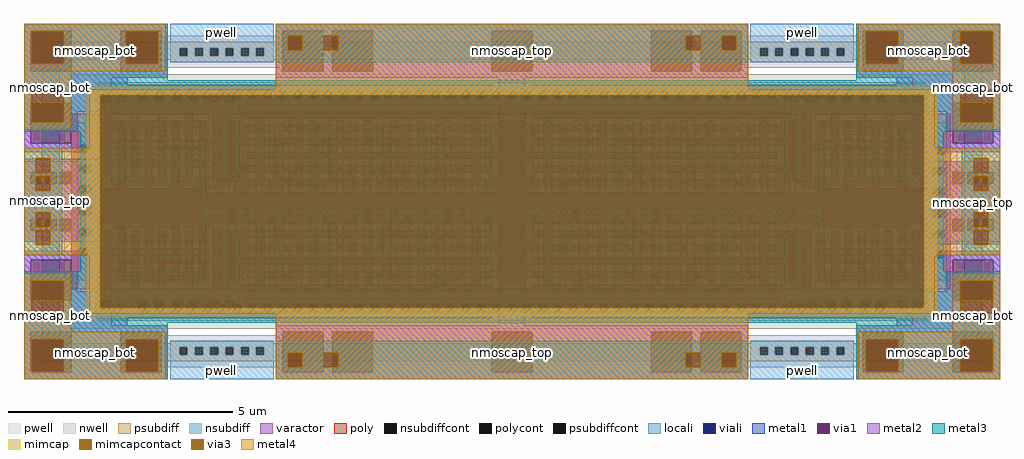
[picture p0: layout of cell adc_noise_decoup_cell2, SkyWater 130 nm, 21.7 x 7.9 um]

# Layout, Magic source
magic
tech sky130A
magscale 1 2
<< nwell >>
rect 200 1210 4128 1356
rect 180 370 4150 1210
rect 200 224 4128 370
<< pwell >>
rect 624 1384 1136 1526
rect 3204 1384 3716 1526
rect 624 54 1136 196
rect 3204 54 3716 196
<< varactor >>
rect 330 400 4010 1180
<< psubdiff >>
rect 650 1472 1110 1500
rect 650 1438 693 1472
rect 727 1438 761 1472
rect 795 1438 829 1472
rect 863 1438 897 1472
rect 931 1438 965 1472
rect 999 1438 1033 1472
rect 1067 1438 1110 1472
rect 650 1410 1110 1438
rect 3230 1472 3690 1500
rect 3230 1438 3273 1472
rect 3307 1438 3341 1472
rect 3375 1438 3409 1472
rect 3443 1438 3477 1472
rect 3511 1438 3545 1472
rect 3579 1438 3613 1472
rect 3647 1438 3690 1472
rect 3230 1410 3690 1438
rect 650 142 1110 170
rect 650 108 693 142
rect 727 108 761 142
rect 795 108 829 142
rect 863 108 897 142
rect 931 108 965 142
rect 999 108 1033 142
rect 1067 108 1110 142
rect 650 80 1110 108
rect 3230 142 3690 170
rect 3230 108 3273 142
rect 3307 108 3341 142
rect 3375 108 3409 142
rect 3443 108 3477 142
rect 3511 108 3545 142
rect 3579 108 3613 142
rect 3647 108 3690 142
rect 3230 80 3690 108
<< nsubdiff >>
rect 330 1282 4010 1320
rect 330 1248 521 1282
rect 555 1248 589 1282
rect 623 1248 657 1282
rect 691 1248 725 1282
rect 759 1248 793 1282
rect 827 1248 861 1282
rect 895 1248 929 1282
rect 963 1248 997 1282
rect 1031 1248 1065 1282
rect 1099 1248 1133 1282
rect 1167 1248 1201 1282
rect 1235 1248 1269 1282
rect 1303 1248 1337 1282
rect 1371 1248 1405 1282
rect 1439 1248 1473 1282
rect 1507 1248 1541 1282
rect 1575 1248 1609 1282
rect 1643 1248 1677 1282
rect 1711 1248 1745 1282
rect 1779 1248 1813 1282
rect 1847 1248 1881 1282
rect 1915 1248 1949 1282
rect 1983 1248 2017 1282
rect 2051 1248 2085 1282
rect 2119 1248 2153 1282
rect 2187 1248 2221 1282
rect 2255 1248 2289 1282
rect 2323 1248 2357 1282
rect 2391 1248 2425 1282
rect 2459 1248 2493 1282
rect 2527 1248 2561 1282
rect 2595 1248 2629 1282
rect 2663 1248 2697 1282
rect 2731 1248 2765 1282
rect 2799 1248 2833 1282
rect 2867 1248 2901 1282
rect 2935 1248 2969 1282
rect 3003 1248 3037 1282
rect 3071 1248 3105 1282
rect 3139 1248 3173 1282
rect 3207 1248 3241 1282
rect 3275 1248 3309 1282
rect 3343 1248 3377 1282
rect 3411 1248 3445 1282
rect 3479 1248 3513 1282
rect 3547 1248 3581 1282
rect 3615 1248 3649 1282
rect 3683 1248 3717 1282
rect 3751 1248 3785 1282
rect 3819 1248 4010 1282
rect 330 1180 4010 1248
rect 330 332 4010 400
rect 330 298 521 332
rect 555 298 589 332
rect 623 298 657 332
rect 691 298 725 332
rect 759 298 793 332
rect 827 298 861 332
rect 895 298 929 332
rect 963 298 997 332
rect 1031 298 1065 332
rect 1099 298 1133 332
rect 1167 298 1201 332
rect 1235 298 1269 332
rect 1303 298 1337 332
rect 1371 298 1405 332
rect 1439 298 1473 332
rect 1507 298 1541 332
rect 1575 298 1609 332
rect 1643 298 1677 332
rect 1711 298 1745 332
rect 1779 298 1813 332
rect 1847 298 1881 332
rect 1915 298 1949 332
rect 1983 298 2017 332
rect 2051 298 2085 332
rect 2119 298 2153 332
rect 2187 298 2221 332
rect 2255 298 2289 332
rect 2323 298 2357 332
rect 2391 298 2425 332
rect 2459 298 2493 332
rect 2527 298 2561 332
rect 2595 298 2629 332
rect 2663 298 2697 332
rect 2731 298 2765 332
rect 2799 298 2833 332
rect 2867 298 2901 332
rect 2935 298 2969 332
rect 3003 298 3037 332
rect 3071 298 3105 332
rect 3139 298 3173 332
rect 3207 298 3241 332
rect 3275 298 3309 332
rect 3343 298 3377 332
rect 3411 298 3445 332
rect 3479 298 3513 332
rect 3547 298 3581 332
rect 3615 298 3649 332
rect 3683 298 3717 332
rect 3751 298 3785 332
rect 3819 298 4010 332
rect 330 260 4010 298
<< psubdiffcont >>
rect 693 1438 727 1472
rect 761 1438 795 1472
rect 829 1438 863 1472
rect 897 1438 931 1472
rect 965 1438 999 1472
rect 1033 1438 1067 1472
rect 3273 1438 3307 1472
rect 3341 1438 3375 1472
rect 3409 1438 3443 1472
rect 3477 1438 3511 1472
rect 3545 1438 3579 1472
rect 3613 1438 3647 1472
rect 693 108 727 142
rect 761 108 795 142
rect 829 108 863 142
rect 897 108 931 142
rect 965 108 999 142
rect 1033 108 1067 142
rect 3273 108 3307 142
rect 3341 108 3375 142
rect 3409 108 3443 142
rect 3477 108 3511 142
rect 3545 108 3579 142
rect 3613 108 3647 142
<< nsubdiffcont >>
rect 521 1248 555 1282
rect 589 1248 623 1282
rect 657 1248 691 1282
rect 725 1248 759 1282
rect 793 1248 827 1282
rect 861 1248 895 1282
rect 929 1248 963 1282
rect 997 1248 1031 1282
rect 1065 1248 1099 1282
rect 1133 1248 1167 1282
rect 1201 1248 1235 1282
rect 1269 1248 1303 1282
rect 1337 1248 1371 1282
rect 1405 1248 1439 1282
rect 1473 1248 1507 1282
rect 1541 1248 1575 1282
rect 1609 1248 1643 1282
rect 1677 1248 1711 1282
rect 1745 1248 1779 1282
rect 1813 1248 1847 1282
rect 1881 1248 1915 1282
rect 1949 1248 1983 1282
rect 2017 1248 2051 1282
rect 2085 1248 2119 1282
rect 2153 1248 2187 1282
rect 2221 1248 2255 1282
rect 2289 1248 2323 1282
rect 2357 1248 2391 1282
rect 2425 1248 2459 1282
rect 2493 1248 2527 1282
rect 2561 1248 2595 1282
rect 2629 1248 2663 1282
rect 2697 1248 2731 1282
rect 2765 1248 2799 1282
rect 2833 1248 2867 1282
rect 2901 1248 2935 1282
rect 2969 1248 3003 1282
rect 3037 1248 3071 1282
rect 3105 1248 3139 1282
rect 3173 1248 3207 1282
rect 3241 1248 3275 1282
rect 3309 1248 3343 1282
rect 3377 1248 3411 1282
rect 3445 1248 3479 1282
rect 3513 1248 3547 1282
rect 3581 1248 3615 1282
rect 3649 1248 3683 1282
rect 3717 1248 3751 1282
rect 3785 1248 3819 1282
rect 521 298 555 332
rect 589 298 623 332
rect 657 298 691 332
rect 725 298 759 332
rect 793 298 827 332
rect 861 298 895 332
rect 929 298 963 332
rect 997 298 1031 332
rect 1065 298 1099 332
rect 1133 298 1167 332
rect 1201 298 1235 332
rect 1269 298 1303 332
rect 1337 298 1371 332
rect 1405 298 1439 332
rect 1473 298 1507 332
rect 1541 298 1575 332
rect 1609 298 1643 332
rect 1677 298 1711 332
rect 1745 298 1779 332
rect 1813 298 1847 332
rect 1881 298 1915 332
rect 1949 298 1983 332
rect 2017 298 2051 332
rect 2085 298 2119 332
rect 2153 298 2187 332
rect 2221 298 2255 332
rect 2289 298 2323 332
rect 2357 298 2391 332
rect 2425 298 2459 332
rect 2493 298 2527 332
rect 2561 298 2595 332
rect 2629 298 2663 332
rect 2697 298 2731 332
rect 2765 298 2799 332
rect 2833 298 2867 332
rect 2901 298 2935 332
rect 2969 298 3003 332
rect 3037 298 3071 332
rect 3105 298 3139 332
rect 3173 298 3207 332
rect 3241 298 3275 332
rect 3309 298 3343 332
rect 3377 298 3411 332
rect 3445 298 3479 332
rect 3513 298 3547 332
rect 3581 298 3615 332
rect 3649 298 3683 332
rect 3717 298 3751 332
rect 3785 298 3819 332
<< poly >>
rect 210 1042 330 1180
rect 210 1008 248 1042
rect 282 1008 330 1042
rect 210 952 330 1008
rect 210 918 248 952
rect 282 918 330 952
rect 210 862 330 918
rect 210 828 248 862
rect 282 828 330 862
rect 210 762 330 828
rect 210 728 248 762
rect 282 728 330 762
rect 210 672 330 728
rect 210 638 248 672
rect 282 638 330 672
rect 210 582 330 638
rect 210 548 248 582
rect 282 548 330 582
rect 210 400 330 548
rect 4010 1032 4120 1180
rect 4010 998 4058 1032
rect 4092 998 4120 1032
rect 4010 942 4120 998
rect 4010 908 4058 942
rect 4092 908 4120 942
rect 4010 852 4120 908
rect 4010 818 4058 852
rect 4092 818 4120 852
rect 4010 752 4120 818
rect 4010 718 4058 752
rect 4092 718 4120 752
rect 4010 662 4120 718
rect 4010 628 4058 662
rect 4092 628 4120 662
rect 4010 572 4120 628
rect 4010 538 4058 572
rect 4092 538 4120 572
rect 4010 400 4120 538
<< polycont >>
rect 248 1008 282 1042
rect 248 918 282 952
rect 248 828 282 862
rect 248 728 282 762
rect 248 638 282 672
rect 248 548 282 582
rect 4058 998 4092 1032
rect 4058 908 4092 942
rect 4058 818 4092 852
rect 4058 718 4092 752
rect 4058 628 4092 662
rect 4058 538 4092 572
<< locali >>
rect 650 1500 1110 1580
rect 3230 1500 3690 1580
rect 80 1472 4260 1500
rect 80 1438 693 1472
rect 727 1438 761 1472
rect 795 1438 829 1472
rect 863 1438 897 1472
rect 931 1438 965 1472
rect 999 1438 1033 1472
rect 1067 1438 3273 1472
rect 3307 1438 3341 1472
rect 3375 1438 3409 1472
rect 3443 1438 3477 1472
rect 3511 1438 3545 1472
rect 3579 1438 3613 1472
rect 3647 1438 4260 1472
rect 80 1420 4260 1438
rect 80 160 160 1420
rect 650 1410 1110 1420
rect 3230 1410 3690 1420
rect 320 1282 4020 1300
rect 320 1267 521 1282
rect 555 1267 589 1282
rect 320 1233 347 1267
rect 381 1233 419 1267
rect 453 1233 507 1267
rect 555 1248 579 1267
rect 623 1248 657 1282
rect 691 1267 725 1282
rect 759 1267 793 1282
rect 701 1248 725 1267
rect 773 1248 793 1267
rect 827 1267 861 1282
rect 541 1233 579 1248
rect 613 1233 667 1248
rect 701 1233 739 1248
rect 773 1233 827 1248
rect 895 1267 929 1282
rect 895 1248 899 1267
rect 963 1248 997 1282
rect 1031 1248 1065 1282
rect 1099 1248 1133 1282
rect 1167 1248 1201 1282
rect 1235 1248 1269 1282
rect 1303 1248 1337 1282
rect 1371 1248 1405 1282
rect 1439 1248 1473 1282
rect 1507 1248 1541 1282
rect 1575 1248 1609 1282
rect 1643 1248 1677 1282
rect 1711 1248 1745 1282
rect 1779 1248 1813 1282
rect 1847 1248 1881 1282
rect 1915 1248 1949 1282
rect 1983 1248 2017 1282
rect 2051 1248 2085 1282
rect 2119 1248 2153 1282
rect 2187 1248 2221 1282
rect 2255 1248 2289 1282
rect 2323 1248 2357 1282
rect 2391 1248 2425 1282
rect 2459 1248 2493 1282
rect 2527 1248 2561 1282
rect 2595 1248 2629 1282
rect 2663 1248 2697 1282
rect 2731 1248 2765 1282
rect 2799 1248 2833 1282
rect 2867 1248 2901 1282
rect 2935 1248 2969 1282
rect 3003 1248 3037 1282
rect 3071 1248 3105 1282
rect 3139 1248 3173 1282
rect 3207 1248 3241 1282
rect 3275 1248 3309 1282
rect 3343 1248 3377 1282
rect 3411 1267 3445 1282
rect 3441 1248 3445 1267
rect 3479 1267 3513 1282
rect 861 1233 899 1248
rect 933 1233 3407 1248
rect 3441 1233 3479 1248
rect 3547 1267 3581 1282
rect 3615 1267 3649 1282
rect 3547 1248 3567 1267
rect 3615 1248 3639 1267
rect 3683 1248 3717 1282
rect 3751 1267 3785 1282
rect 3819 1267 4020 1282
rect 3761 1248 3785 1267
rect 3513 1233 3567 1248
rect 3601 1233 3639 1248
rect 3673 1233 3727 1248
rect 3761 1233 3799 1248
rect 3833 1233 3887 1267
rect 3921 1233 3959 1267
rect 3993 1233 4020 1267
rect 320 1180 4020 1233
rect 240 1100 800 1140
rect 240 1042 350 1100
rect 840 1060 910 1180
rect 240 1008 248 1042
rect 282 1008 350 1042
rect 390 1020 910 1060
rect 240 980 350 1008
rect 240 952 800 980
rect 240 918 248 952
rect 302 940 800 952
rect 302 918 350 940
rect 240 862 350 918
rect 840 900 910 1020
rect 240 828 248 862
rect 302 828 350 862
rect 390 860 910 900
rect 240 820 350 828
rect 950 830 990 1140
rect 1030 880 1070 1180
rect 1110 830 1150 1140
rect 1190 880 1230 1180
rect 1270 830 1310 1140
rect 1350 880 1390 1180
rect 1430 830 1470 1140
rect 1510 880 1550 1180
rect 1590 830 1630 1140
rect 1670 880 1710 1180
rect 1750 830 1790 1140
rect 1830 880 1870 1180
rect 1910 830 1950 1140
rect 1990 880 2030 1180
rect 2070 830 2110 1140
rect 2150 880 2190 1180
rect 2230 830 2270 1140
rect 2310 880 2350 1180
rect 2390 830 2430 1140
rect 2470 880 2510 1180
rect 2550 830 2590 1140
rect 2630 880 2670 1180
rect 2710 830 2750 1140
rect 2790 880 2830 1180
rect 2870 830 2910 1140
rect 2950 880 2990 1180
rect 3030 830 3070 1140
rect 3110 880 3150 1180
rect 3190 830 3230 1140
rect 3270 880 3310 1180
rect 3350 830 3390 1140
rect 3430 1060 3500 1180
rect 3540 1100 4100 1140
rect 3430 1020 3950 1060
rect 3990 1032 4100 1100
rect 3430 900 3500 1020
rect 3990 998 4058 1032
rect 4092 998 4100 1032
rect 3990 980 4100 998
rect 3540 942 4100 980
rect 3540 940 4038 942
rect 3990 908 4038 940
rect 4092 908 4100 942
rect 3430 860 3940 900
rect 950 820 3390 830
rect 3990 852 4100 908
rect 3990 820 4038 852
rect 240 818 4038 820
rect 4092 818 4100 852
rect 240 762 4100 818
rect 240 728 248 762
rect 302 760 4100 762
rect 302 728 350 760
rect 240 672 350 728
rect 950 750 3390 760
rect 390 680 910 720
rect 240 638 248 672
rect 302 640 350 672
rect 302 638 800 640
rect 240 600 800 638
rect 240 582 350 600
rect 240 548 248 582
rect 282 548 350 582
rect 840 560 910 680
rect 240 480 350 548
rect 390 520 910 560
rect 240 440 800 480
rect 840 400 910 520
rect 950 440 990 750
rect 1030 400 1070 700
rect 1110 440 1150 750
rect 1190 400 1230 700
rect 1270 440 1310 750
rect 1350 400 1390 700
rect 1430 440 1470 750
rect 1510 400 1550 700
rect 1590 440 1630 750
rect 1670 400 1710 700
rect 1750 440 1790 750
rect 1830 400 1870 700
rect 1910 440 1950 750
rect 1990 400 2030 700
rect 2070 450 2110 750
rect 2150 400 2190 700
rect 2230 450 2270 750
rect 2310 400 2350 700
rect 2390 440 2430 750
rect 2470 400 2510 700
rect 2550 440 2590 750
rect 2630 400 2670 700
rect 2710 440 2750 750
rect 2790 400 2830 700
rect 2870 440 2910 750
rect 2950 400 2990 700
rect 3030 440 3070 750
rect 3110 400 3150 700
rect 3190 440 3230 750
rect 3270 400 3310 700
rect 3350 440 3390 750
rect 3990 752 4100 760
rect 3430 680 3940 720
rect 3990 718 4038 752
rect 4092 718 4100 752
rect 3430 560 3500 680
rect 3990 662 4100 718
rect 3990 640 4038 662
rect 3540 628 4038 640
rect 4092 628 4100 662
rect 3540 600 4100 628
rect 3990 572 4100 600
rect 3430 520 3950 560
rect 3990 538 4058 572
rect 4092 538 4100 572
rect 3430 400 3500 520
rect 3990 480 4100 538
rect 3540 440 4100 480
rect 320 347 4020 400
rect 320 313 347 347
rect 381 313 419 347
rect 453 313 507 347
rect 541 332 579 347
rect 613 332 667 347
rect 701 332 739 347
rect 773 332 827 347
rect 555 313 579 332
rect 320 298 521 313
rect 555 298 589 313
rect 623 298 657 332
rect 701 313 725 332
rect 773 313 793 332
rect 691 298 725 313
rect 759 298 793 313
rect 861 332 899 347
rect 933 332 3407 347
rect 3441 332 3479 347
rect 827 298 861 313
rect 895 313 899 332
rect 895 298 929 313
rect 963 298 997 332
rect 1031 298 1065 332
rect 1099 298 1133 332
rect 1167 298 1201 332
rect 1235 298 1269 332
rect 1303 298 1337 332
rect 1371 298 1405 332
rect 1439 298 1473 332
rect 1507 298 1541 332
rect 1575 298 1609 332
rect 1643 298 1677 332
rect 1711 298 1745 332
rect 1779 298 1813 332
rect 1847 298 1881 332
rect 1915 298 1949 332
rect 1983 298 2017 332
rect 2051 298 2085 332
rect 2119 298 2153 332
rect 2187 298 2221 332
rect 2255 298 2289 332
rect 2323 298 2357 332
rect 2391 298 2425 332
rect 2459 298 2493 332
rect 2527 298 2561 332
rect 2595 298 2629 332
rect 2663 298 2697 332
rect 2731 298 2765 332
rect 2799 298 2833 332
rect 2867 298 2901 332
rect 2935 298 2969 332
rect 3003 298 3037 332
rect 3071 298 3105 332
rect 3139 298 3173 332
rect 3207 298 3241 332
rect 3275 298 3309 332
rect 3343 298 3377 332
rect 3441 313 3445 332
rect 3411 298 3445 313
rect 3513 332 3567 347
rect 3601 332 3639 347
rect 3673 332 3727 347
rect 3761 332 3799 347
rect 3479 298 3513 313
rect 3547 313 3567 332
rect 3615 313 3639 332
rect 3547 298 3581 313
rect 3615 298 3649 313
rect 3683 298 3717 332
rect 3761 313 3785 332
rect 3833 313 3887 347
rect 3921 313 3959 347
rect 3993 313 4020 347
rect 3751 298 3785 313
rect 3819 298 4020 313
rect 320 280 4020 298
rect 650 160 1110 170
rect 3230 160 3690 170
rect 4180 160 4260 1420
rect 80 142 4260 160
rect 80 108 693 142
rect 727 108 761 142
rect 795 108 829 142
rect 863 108 897 142
rect 931 108 965 142
rect 999 108 1033 142
rect 1067 108 3273 142
rect 3307 108 3341 142
rect 3375 108 3409 142
rect 3443 108 3477 142
rect 3511 108 3545 142
rect 3579 108 3613 142
rect 3647 108 4260 142
rect 80 80 4260 108
rect 650 0 1110 80
rect 3230 0 3690 80
<< viali >>
rect 347 1233 381 1267
rect 419 1233 453 1267
rect 507 1248 521 1267
rect 521 1248 541 1267
rect 579 1248 589 1267
rect 589 1248 613 1267
rect 667 1248 691 1267
rect 691 1248 701 1267
rect 739 1248 759 1267
rect 759 1248 773 1267
rect 507 1233 541 1248
rect 579 1233 613 1248
rect 667 1233 701 1248
rect 739 1233 773 1248
rect 827 1233 861 1267
rect 899 1248 929 1267
rect 929 1248 933 1267
rect 3407 1248 3411 1267
rect 3411 1248 3441 1267
rect 899 1233 933 1248
rect 3407 1233 3441 1248
rect 3479 1233 3513 1267
rect 3567 1248 3581 1267
rect 3581 1248 3601 1267
rect 3639 1248 3649 1267
rect 3649 1248 3673 1267
rect 3727 1248 3751 1267
rect 3751 1248 3761 1267
rect 3799 1248 3819 1267
rect 3819 1248 3833 1267
rect 3567 1233 3601 1248
rect 3639 1233 3673 1248
rect 3727 1233 3761 1248
rect 3799 1233 3833 1248
rect 3887 1233 3921 1267
rect 3959 1233 3993 1267
rect 268 918 282 952
rect 282 918 302 952
rect 268 828 282 862
rect 282 828 302 862
rect 4038 908 4058 942
rect 4058 908 4072 942
rect 4038 818 4058 852
rect 4058 818 4072 852
rect 268 728 282 762
rect 282 728 302 762
rect 268 638 282 672
rect 282 638 302 672
rect 4038 718 4058 752
rect 4058 718 4072 752
rect 4038 628 4058 662
rect 4058 628 4072 662
rect 347 313 381 347
rect 419 313 453 347
rect 507 332 541 347
rect 579 332 613 347
rect 667 332 701 347
rect 739 332 773 347
rect 507 313 521 332
rect 521 313 541 332
rect 579 313 589 332
rect 589 313 613 332
rect 667 313 691 332
rect 691 313 701 332
rect 739 313 759 332
rect 759 313 773 332
rect 827 313 861 347
rect 899 332 933 347
rect 3407 332 3441 347
rect 899 313 929 332
rect 929 313 933 332
rect 3407 313 3411 332
rect 3411 313 3441 332
rect 3479 313 3513 347
rect 3567 332 3601 347
rect 3639 332 3673 347
rect 3727 332 3761 347
rect 3799 332 3833 347
rect 3567 313 3581 332
rect 3581 313 3601 332
rect 3639 313 3649 332
rect 3649 313 3673 332
rect 3727 313 3751 332
rect 3751 313 3761 332
rect 3799 313 3819 332
rect 3819 313 3833 332
rect 3887 313 3921 347
rect 3959 313 3993 347
<< metal1 >>
rect 0 1550 640 1580
rect 0 1370 30 1550
rect 210 1370 430 1550
rect 610 1370 640 1550
rect 0 1340 640 1370
rect 1120 1550 3220 1580
rect 1120 1370 1150 1550
rect 1330 1370 1370 1550
rect 1550 1370 2080 1550
rect 2260 1370 2790 1550
rect 2970 1370 3010 1550
rect 3190 1370 3220 1550
rect 1120 1340 3220 1370
rect 3700 1550 4340 1580
rect 3700 1370 3730 1550
rect 3910 1370 4130 1550
rect 4310 1370 4340 1550
rect 3700 1340 4340 1370
rect 0 1310 460 1340
rect 0 1280 2080 1310
rect 0 1267 960 1280
rect 0 1233 347 1267
rect 381 1233 419 1267
rect 453 1233 507 1267
rect 541 1233 579 1267
rect 613 1233 667 1267
rect 701 1233 739 1267
rect 773 1233 827 1267
rect 861 1233 899 1267
rect 933 1233 960 1267
rect 2110 1250 2230 1340
rect 3880 1310 4340 1340
rect 2260 1280 4340 1310
rect 3380 1267 4340 1280
rect 0 1230 960 1233
rect 0 1050 30 1230
rect 210 1190 960 1230
rect 990 1220 3350 1250
rect 3380 1233 3407 1267
rect 3441 1233 3479 1267
rect 3513 1233 3567 1267
rect 3601 1233 3639 1267
rect 3673 1233 3727 1267
rect 3761 1233 3799 1267
rect 3833 1233 3887 1267
rect 3921 1233 3959 1267
rect 3993 1233 4340 1267
rect 3380 1230 4340 1233
rect 210 1050 240 1190
rect 330 1180 2080 1190
rect 0 1010 240 1050
rect 0 952 330 980
rect 0 921 268 952
rect 0 869 30 921
rect 82 869 94 921
rect 146 869 158 921
rect 210 918 268 921
rect 302 918 330 952
rect 210 869 330 918
rect 360 910 390 1180
rect 0 862 330 869
rect 0 828 268 862
rect 302 850 330 862
rect 420 850 450 1150
rect 480 910 510 1180
rect 540 850 570 1150
rect 600 910 630 1180
rect 660 850 690 1150
rect 720 910 750 1180
rect 840 1160 2080 1180
rect 780 850 810 1150
rect 840 1070 960 1160
rect 2110 1130 2230 1220
rect 3380 1190 4130 1230
rect 2260 1180 4010 1190
rect 2260 1160 3500 1180
rect 990 1100 3350 1130
rect 840 1040 2080 1070
rect 840 950 960 1040
rect 2110 1010 2230 1100
rect 3380 1070 3500 1160
rect 2260 1040 3500 1070
rect 990 980 3350 1010
rect 840 920 2080 950
rect 840 880 960 920
rect 2110 890 2230 980
rect 3380 950 3500 1040
rect 2260 920 3500 950
rect 990 860 3350 890
rect 3380 880 3500 920
rect 302 830 810 850
rect 2110 830 2230 860
rect 3530 850 3560 1150
rect 3590 910 3620 1180
rect 3650 850 3680 1150
rect 3710 910 3740 1180
rect 3770 850 3800 1150
rect 3830 910 3860 1180
rect 3890 850 3920 1150
rect 3950 910 3980 1180
rect 4100 1050 4130 1190
rect 4310 1050 4340 1230
rect 4100 1010 4340 1050
rect 4010 942 4340 970
rect 4010 908 4038 942
rect 4072 921 4340 942
rect 4072 908 4130 921
rect 4010 869 4130 908
rect 4182 869 4194 921
rect 4246 869 4258 921
rect 4310 869 4340 921
rect 4010 852 4340 869
rect 4010 850 4038 852
rect 3530 830 4038 850
rect 302 828 4038 830
rect 0 818 4038 828
rect 4072 818 4340 852
rect 0 762 4340 818
rect 0 728 268 762
rect 302 752 4340 762
rect 302 728 4038 752
rect 0 718 4038 728
rect 4072 718 4340 752
rect 0 711 4340 718
rect 0 659 30 711
rect 82 659 94 711
rect 146 659 158 711
rect 210 690 4130 711
rect 210 672 330 690
rect 210 659 268 672
rect 0 638 268 659
rect 302 638 330 672
rect 0 610 330 638
rect 0 530 240 570
rect 0 350 30 530
rect 210 390 240 530
rect 360 400 390 660
rect 420 430 450 690
rect 480 400 510 660
rect 540 430 570 690
rect 600 400 630 660
rect 660 430 690 690
rect 720 400 750 660
rect 780 430 810 690
rect 840 630 2080 660
rect 840 540 960 630
rect 2110 600 2230 690
rect 2260 630 3500 660
rect 990 570 3350 600
rect 840 510 2080 540
rect 840 420 960 510
rect 2110 480 2230 570
rect 3380 540 3500 630
rect 2260 510 3500 540
rect 990 450 3350 480
rect 840 400 2080 420
rect 330 390 2080 400
rect 210 350 960 390
rect 2110 360 2230 450
rect 3380 420 3500 510
rect 3530 430 3560 690
rect 2260 400 3500 420
rect 3590 400 3620 660
rect 3650 430 3680 690
rect 3710 400 3740 660
rect 3770 430 3800 690
rect 3830 400 3860 660
rect 3890 430 3920 690
rect 4010 662 4130 690
rect 3950 400 3980 660
rect 4010 628 4038 662
rect 4072 659 4130 662
rect 4182 659 4194 711
rect 4246 659 4258 711
rect 4310 659 4340 711
rect 4072 628 4340 659
rect 4010 600 4340 628
rect 4100 530 4340 570
rect 2260 390 4010 400
rect 4100 390 4130 530
rect 0 347 960 350
rect 0 313 347 347
rect 381 313 419 347
rect 453 313 507 347
rect 541 313 579 347
rect 613 313 667 347
rect 701 313 739 347
rect 773 313 827 347
rect 861 313 899 347
rect 933 313 960 347
rect 990 330 3350 360
rect 3380 350 4130 390
rect 4310 350 4340 530
rect 3380 347 4340 350
rect 0 300 960 313
rect 0 270 2080 300
rect 0 240 460 270
rect 2110 240 2230 330
rect 3380 313 3407 347
rect 3441 313 3479 347
rect 3513 313 3567 347
rect 3601 313 3639 347
rect 3673 313 3727 347
rect 3761 313 3799 347
rect 3833 313 3887 347
rect 3921 313 3959 347
rect 3993 313 4340 347
rect 3380 300 4340 313
rect 2260 270 4340 300
rect 3880 240 4340 270
rect 0 210 640 240
rect 0 30 30 210
rect 210 30 430 210
rect 610 30 640 210
rect 0 0 640 30
rect 1120 210 3220 240
rect 1120 30 1150 210
rect 1330 30 1370 210
rect 1550 30 2080 210
rect 2260 30 2790 210
rect 2970 30 3010 210
rect 3190 30 3220 210
rect 1120 0 3220 30
rect 3700 210 4340 240
rect 3700 30 3730 210
rect 3910 30 4130 210
rect 4310 30 4340 210
rect 3700 0 4340 30
<< via1 >>
rect 30 1370 210 1550
rect 430 1370 610 1550
rect 1150 1370 1330 1550
rect 1370 1370 1550 1550
rect 2080 1370 2260 1550
rect 2790 1370 2970 1550
rect 3010 1370 3190 1550
rect 3730 1370 3910 1550
rect 4130 1370 4310 1550
rect 30 1050 210 1230
rect 30 869 82 921
rect 94 869 146 921
rect 158 869 210 921
rect 4130 1050 4310 1230
rect 4130 869 4182 921
rect 4194 869 4246 921
rect 4258 869 4310 921
rect 30 659 82 711
rect 94 659 146 711
rect 158 659 210 711
rect 30 350 210 530
rect 4130 659 4182 711
rect 4194 659 4246 711
rect 4258 659 4310 711
rect 4130 350 4310 530
rect 30 30 210 210
rect 430 30 610 210
rect 1150 30 1330 210
rect 1370 30 1550 210
rect 2080 30 2260 210
rect 2790 30 2970 210
rect 3010 30 3190 210
rect 3730 30 3910 210
rect 4130 30 4310 210
<< metal2 >>
rect 0 1550 640 1580
rect 0 1370 30 1550
rect 210 1370 430 1550
rect 610 1370 640 1550
rect 0 1340 640 1370
rect 1120 1550 3220 1580
rect 1120 1370 1150 1550
rect 1330 1370 1370 1550
rect 1550 1370 2080 1550
rect 2260 1370 2790 1550
rect 2970 1370 3010 1550
rect 3190 1370 3220 1550
rect 0 1230 390 1340
rect 1120 1300 3220 1370
rect 3700 1550 4340 1580
rect 3700 1370 3730 1550
rect 3910 1370 4130 1550
rect 4310 1370 4340 1550
rect 3700 1340 4340 1370
rect 0 1050 30 1230
rect 210 1150 390 1230
rect 420 1180 3920 1300
rect 3950 1230 4340 1340
rect 210 1120 790 1150
rect 210 1050 390 1120
rect 820 1090 880 1180
rect 420 1060 880 1090
rect 0 1030 390 1050
rect 0 1010 790 1030
rect 280 1000 790 1010
rect 0 921 240 970
rect 0 869 30 921
rect 82 869 94 921
rect 146 869 158 921
rect 210 869 240 921
rect 0 711 240 869
rect 0 659 30 711
rect 82 659 94 711
rect 146 659 158 711
rect 210 659 240 711
rect 0 610 240 659
rect 280 880 390 1000
rect 820 970 880 1060
rect 420 940 880 970
rect 280 820 790 880
rect 820 850 880 940
rect 910 820 940 1150
rect 970 850 1000 1180
rect 1030 820 1060 1150
rect 1090 850 1120 1180
rect 1150 820 1180 1150
rect 1210 850 1240 1180
rect 1270 820 1300 1150
rect 1330 850 1360 1180
rect 1390 820 1420 1150
rect 1450 850 1480 1180
rect 1510 820 1540 1150
rect 1570 850 1600 1180
rect 1630 820 1660 1150
rect 1690 850 1720 1180
rect 1750 820 1780 1150
rect 1810 850 1840 1180
rect 1870 820 1900 1150
rect 1930 850 1960 1180
rect 1990 820 2020 1150
rect 2050 850 2080 1180
rect 2110 820 2230 1150
rect 2260 850 2290 1180
rect 2320 820 2350 1150
rect 2380 850 2410 1180
rect 2440 820 2470 1150
rect 2500 850 2530 1180
rect 2560 820 2590 1150
rect 2620 850 2650 1180
rect 2680 820 2710 1150
rect 2740 850 2770 1180
rect 2800 820 2830 1150
rect 2860 850 2890 1180
rect 2920 820 2950 1150
rect 2980 850 3010 1180
rect 3040 820 3070 1150
rect 3100 850 3130 1180
rect 3160 820 3190 1150
rect 3220 850 3250 1180
rect 3280 820 3310 1150
rect 3340 850 3370 1180
rect 3400 820 3430 1150
rect 3460 1090 3520 1180
rect 3950 1150 4130 1230
rect 3550 1120 4130 1150
rect 3460 1060 3920 1090
rect 3460 970 3520 1060
rect 3950 1050 4130 1120
rect 4310 1050 4340 1230
rect 3950 1030 4340 1050
rect 3550 1010 4340 1030
rect 3550 1000 4060 1010
rect 3460 940 3920 970
rect 3460 850 3520 940
rect 3950 880 4060 1000
rect 3550 820 4060 880
rect 280 760 4060 820
rect 280 670 790 760
rect 280 580 390 670
rect 820 640 880 730
rect 420 610 880 640
rect 280 570 790 580
rect 0 550 790 570
rect 0 530 390 550
rect 0 350 30 530
rect 210 460 390 530
rect 820 520 880 610
rect 420 490 880 520
rect 210 430 790 460
rect 210 350 390 430
rect 820 400 880 490
rect 910 430 940 760
rect 970 400 1000 730
rect 1030 430 1060 760
rect 1090 400 1120 730
rect 1150 430 1180 760
rect 1210 400 1240 730
rect 1270 430 1300 760
rect 1330 400 1360 730
rect 1390 430 1420 760
rect 1450 400 1480 730
rect 1510 430 1540 760
rect 1570 400 1600 730
rect 1630 430 1660 760
rect 1690 400 1720 730
rect 1750 430 1780 760
rect 1810 400 1840 730
rect 1870 430 1900 760
rect 1930 400 1960 730
rect 1990 430 2020 760
rect 2050 400 2080 730
rect 2110 430 2230 760
rect 2260 400 2290 730
rect 2320 430 2350 760
rect 2380 400 2410 730
rect 2440 430 2470 760
rect 2500 400 2530 730
rect 2560 430 2590 760
rect 2620 400 2650 730
rect 2680 430 2710 760
rect 2740 400 2770 730
rect 2800 430 2830 760
rect 2860 400 2890 730
rect 2920 430 2950 760
rect 2980 400 3010 730
rect 3040 430 3070 760
rect 3100 400 3130 730
rect 3160 430 3190 760
rect 3220 400 3250 730
rect 3280 430 3310 760
rect 3340 400 3370 730
rect 3400 430 3430 760
rect 3460 640 3520 730
rect 3550 670 4060 760
rect 3460 610 3920 640
rect 3460 520 3520 610
rect 3950 580 4060 670
rect 4100 921 4340 970
rect 4100 869 4130 921
rect 4182 869 4194 921
rect 4246 869 4258 921
rect 4310 869 4340 921
rect 4100 711 4340 869
rect 4100 659 4130 711
rect 4182 659 4194 711
rect 4246 659 4258 711
rect 4310 659 4340 711
rect 4100 610 4340 659
rect 3550 570 4060 580
rect 3550 550 4340 570
rect 3950 530 4340 550
rect 3460 490 3920 520
rect 3460 400 3520 490
rect 3950 460 4130 530
rect 3550 430 4130 460
rect 0 240 390 350
rect 420 280 3920 400
rect 3950 350 4130 430
rect 4310 350 4340 530
rect 0 210 640 240
rect 0 30 30 210
rect 210 30 430 210
rect 610 30 640 210
rect 0 0 640 30
rect 1120 210 3220 280
rect 3950 240 4340 350
rect 1120 30 1150 210
rect 1330 30 1370 210
rect 1550 30 2080 210
rect 2260 30 2790 210
rect 2970 30 3010 210
rect 3190 30 3220 210
rect 1120 0 3220 30
rect 3700 210 4340 240
rect 3700 30 3730 210
rect 3910 30 4130 210
rect 4310 30 4340 210
rect 3700 0 4340 30
<< metal3 >>
rect 0 1547 640 1580
rect 0 1403 33 1547
rect 177 1403 453 1547
rect 597 1403 640 1547
rect 1120 1527 3220 1580
rect 1120 1463 1173 1527
rect 1237 1463 1333 1527
rect 1397 1463 2943 1527
rect 3007 1463 3103 1527
rect 3167 1463 3220 1527
rect 1120 1410 3220 1463
rect 3700 1547 4340 1580
rect 0 1330 640 1403
rect 3700 1403 3743 1547
rect 3887 1403 4163 1547
rect 4307 1403 4340 1547
rect 3700 1330 4340 1403
rect 0 1287 4340 1330
rect 0 1143 33 1287
rect 177 1143 4163 1287
rect 4307 1143 4340 1287
rect 0 1100 4340 1143
rect 0 982 170 1030
rect 0 918 53 982
rect 117 918 170 982
rect 0 902 170 918
rect 0 838 53 902
rect 117 838 170 902
rect 0 742 170 838
rect 0 678 53 742
rect 117 678 170 742
rect 0 662 170 678
rect 0 598 53 662
rect 117 598 170 662
rect 0 550 170 598
rect 250 480 4090 1100
rect 4170 982 4340 1030
rect 4170 918 4223 982
rect 4287 918 4340 982
rect 4170 902 4340 918
rect 4170 838 4223 902
rect 4287 838 4340 902
rect 4170 742 4340 838
rect 4170 678 4223 742
rect 4287 678 4340 742
rect 4170 662 4340 678
rect 4170 598 4223 662
rect 4287 598 4340 662
rect 4170 550 4340 598
rect 0 437 4340 480
rect 0 293 33 437
rect 177 293 4163 437
rect 4307 293 4340 437
rect 0 250 4340 293
rect 0 177 640 250
rect 0 33 33 177
rect 177 33 453 177
rect 597 33 640 177
rect 3700 177 4340 250
rect 0 0 640 33
rect 1120 117 3220 170
rect 1120 53 1173 117
rect 1237 53 1333 117
rect 1397 53 2943 117
rect 3007 53 3103 117
rect 3167 53 3220 117
rect 1120 0 3220 53
rect 3700 33 3743 177
rect 3887 33 4163 177
rect 4307 33 4340 177
rect 3700 0 4340 33
<< via3 >>
rect 33 1403 177 1547
rect 453 1403 597 1547
rect 1173 1463 1237 1527
rect 1333 1463 1397 1527
rect 2943 1463 3007 1527
rect 3103 1463 3167 1527
rect 3743 1403 3887 1547
rect 4163 1403 4307 1547
rect 33 1143 177 1287
rect 4163 1143 4307 1287
rect 53 918 117 982
rect 53 838 117 902
rect 53 678 117 742
rect 53 598 117 662
rect 4223 918 4287 982
rect 4223 838 4287 902
rect 4223 678 4287 742
rect 4223 598 4287 662
rect 33 293 177 437
rect 4163 293 4307 437
rect 33 33 177 177
rect 453 33 597 177
rect 1173 53 1237 117
rect 1333 53 1397 117
rect 2943 53 3007 117
rect 3103 53 3167 117
rect 3743 33 3887 177
rect 4163 33 4307 177
<< mimcap >>
rect 280 1262 4060 1300
rect 280 318 338 1262
rect 4002 318 4060 1262
rect 280 280 4060 318
<< mimcapcontact >>
rect 338 318 4002 1262
<< metal4 >>
rect 0 1547 630 1580
rect 0 1403 33 1547
rect 177 1403 453 1547
rect 597 1403 630 1547
rect 0 1370 630 1403
rect 1120 1527 3220 1580
rect 1120 1463 1173 1527
rect 1237 1463 1333 1527
rect 1397 1463 2943 1527
rect 3007 1463 3103 1527
rect 3167 1463 3220 1527
rect 0 1287 210 1370
rect 1120 1290 3220 1463
rect 3710 1547 4340 1580
rect 3710 1403 3743 1547
rect 3887 1403 4163 1547
rect 4307 1403 4340 1547
rect 3710 1370 4340 1403
rect 0 1143 33 1287
rect 177 1143 210 1287
rect 0 1110 210 1143
rect 290 1262 4050 1290
rect 290 1030 338 1262
rect 0 982 338 1030
rect 0 918 53 982
rect 117 918 338 982
rect 0 902 338 918
rect 0 838 53 902
rect 117 838 338 902
rect 0 742 338 838
rect 0 678 53 742
rect 117 678 338 742
rect 0 662 338 678
rect 0 598 53 662
rect 117 598 338 662
rect 0 550 338 598
rect 0 437 210 470
rect 0 293 33 437
rect 177 293 210 437
rect 0 210 210 293
rect 290 318 338 550
rect 4002 1030 4050 1262
rect 4130 1287 4340 1370
rect 4130 1143 4163 1287
rect 4307 1143 4340 1287
rect 4130 1110 4340 1143
rect 4002 982 4340 1030
rect 4002 918 4223 982
rect 4287 918 4340 982
rect 4002 902 4340 918
rect 4002 838 4223 902
rect 4287 838 4340 902
rect 4002 742 4340 838
rect 4002 678 4223 742
rect 4287 678 4340 742
rect 4002 662 4340 678
rect 4002 598 4223 662
rect 4287 598 4340 662
rect 4002 550 4340 598
rect 4002 318 4050 550
rect 290 290 4050 318
rect 4130 437 4340 470
rect 4130 293 4163 437
rect 4307 293 4340 437
rect 0 177 630 210
rect 0 33 33 177
rect 177 33 453 177
rect 597 33 630 177
rect 0 0 630 33
rect 1120 117 3220 290
rect 4130 210 4340 293
rect 1120 53 1173 117
rect 1237 53 1333 117
rect 1397 53 2943 117
rect 3007 53 3103 117
rect 3167 53 3220 117
rect 1120 0 3220 53
rect 3710 177 4340 210
rect 3710 33 3743 177
rect 3887 33 4163 177
rect 4307 33 4340 177
rect 3710 0 4340 33
<< labels >>
flabel metal1 s 4100 1010 4340 1580 3 FreeSans 200 90 0 0 nmoscap_bot
port 1 nsew
flabel metal1 s 4100 0 4340 570 3 FreeSans 200 90 0 0 nmoscap_bot
port 1 nsew
flabel metal1 s 0 0 240 570 7 FreeSans 200 90 0 0 nmoscap_bot
port 1 nsew
flabel metal1 s 0 1010 240 1580 7 FreeSans 200 90 0 0 nmoscap_bot
port 1 nsew
flabel metal1 s 3700 1340 4340 1580 1 FreeSans 400 0 0 0 nmoscap_bot
port 1 nsew
flabel metal1 s 3700 0 4340 240 5 FreeSans 400 0 0 0 nmoscap_bot
port 1 nsew
flabel metal1 s 0 1340 640 1580 1 FreeSans 400 0 0 0 nmoscap_bot
port 1 nsew
flabel metal1 s 0 0 640 240 5 FreeSans 400 0 0 0 nmoscap_bot
port 1 nsew
flabel metal1 s 4100 600 4340 970 3 FreeSans 400 90 0 0 nmoscap_top
port 2 nsew
flabel metal1 s 0 610 240 980 7 FreeSans 400 90 0 0 nmoscap_top
port 2 nsew
flabel metal1 s 1120 1340 3220 1580 1 FreeSans 400 0 0 0 nmoscap_top
port 2 nsew
flabel metal1 s 1120 0 3220 240 5 FreeSans 400 0 0 0 nmoscap_top
port 2 nsew
flabel locali s 3230 1500 3690 1580 1 FreeSans 400 0 0 0 pwell
port 3 nsew
flabel locali s 650 1500 1110 1580 1 FreeSans 400 0 0 0 pwell
port 3 nsew
flabel locali s 3230 0 3690 80 5 FreeSans 400 0 0 0 pwell
port 3 nsew
flabel locali s 650 0 1110 80 5 FreeSans 400 0 0 0 pwell
port 3 nsew
flabel metal3 s 4090 1100 4340 1580 3 FreeSans 400 90 0 0 mimcap_bot
port 4 nsew
flabel metal3 s 4090 0 4340 480 3 FreeSans 400 90 0 0 mimcap_bot
port 4 nsew
flabel metal3 s 0 0 250 480 7 FreeSans 400 90 0 0 mimcap_bot
port 4 nsew
flabel metal3 s 0 1100 250 1580 7 FreeSans 400 90 0 0 mimcap_bot
port 4 nsew
flabel metal3 s 3700 1340 4340 1580 1 FreeSans 400 0 0 0 mimcap_bot
port 4 nsew
flabel metal3 s 0 1340 640 1580 1 FreeSans 400 0 0 0 mimcap_bot
port 4 nsew
flabel metal3 s 3700 0 4340 240 5 FreeSans 400 0 0 0 mimcap_bot
port 4 nsew
flabel metal3 s 0 0 640 240 5 FreeSans 400 0 0 0 mimcap_bot
port 4 nsew
flabel metal3 s 0 550 170 1030 7 FreeSans 400 90 0 0 mimcap_top
port 5 nsew
flabel metal3 s 4170 550 4340 1030 3 FreeSans 400 90 0 0 mimcap_top
port 5 nsew
flabel metal3 s 1120 1410 3220 1580 1 FreeSans 400 0 0 0 mimcap_top
port 5 nsew
flabel metal3 s 1120 0 3220 170 5 FreeSans 400 0 0 0 mimcap_top
port 5 nsew
<< properties >>
string FIXED_BBOX 0 0 4340 1580
string GDS_END 99242
string GDS_FILE adc_top.gds.gz
string GDS_START 5926
<< end >>
